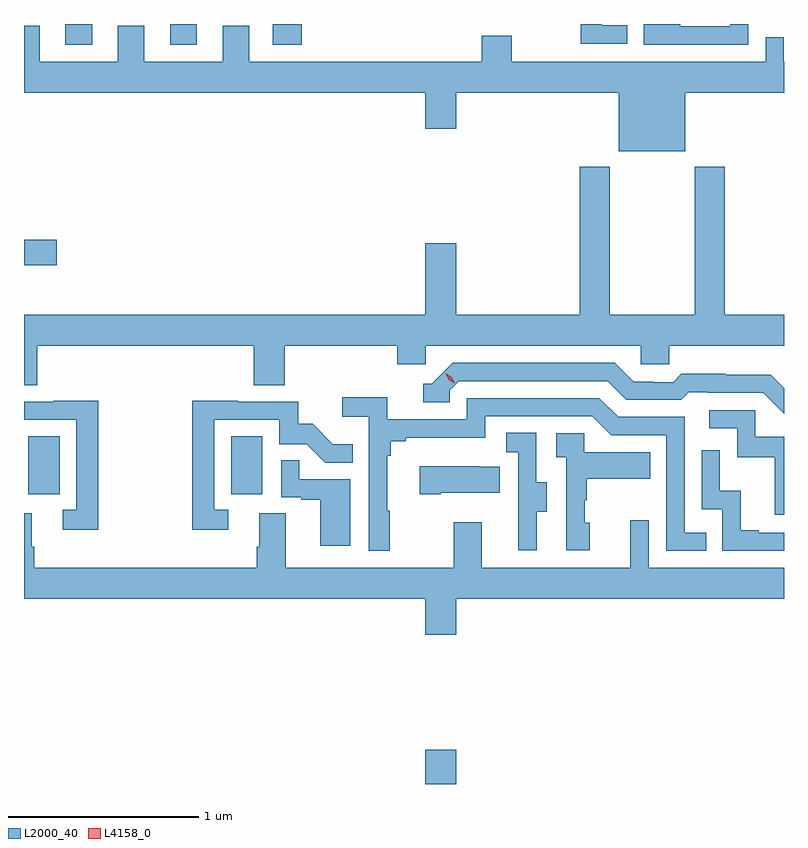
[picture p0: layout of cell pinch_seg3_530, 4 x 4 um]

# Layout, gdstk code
import gdstk
lib = gdstk.Library(unit=1e-6, precision=1e-09)
def R(c, l, rs):  # rectangles x0, y0, x1, y1
    for r in rs: c.add(gdstk.rectangle(r[:2], r[2:], *l))
def P(c, l, *ps):  # polygons
    for p in ps: c.add(gdstk.Polygon(p, *l))
L2000_40 = (2000, 40)
L4158_0 = (4158, 0)

pinch_seg3_530 = lib.new_cell('pinch_seg3_530')
R(pinch_seg3_530, L2000_40, [(1124.048,695.946,1124.212,696.127), (1121.96,697.47,1122.124,697.777), (1123.028,697.47,1123.192,697.777), (1121.937,698.675,1122.109,698.81), (1122.155,699.837,1122.295,699.946), (1122.707,699.837,1122.847,699.946), (1123.247,699.837,1123.399,699.946)])
P(pinch_seg3_530, L2000_40, [(1125.75,699.946),(1125.654,699.946),(1125.654,699.933),(1125.391,699.933),(1125.391,699.946),(1125.198,699.946),(1125.198,699.837),(1125.75,699.837)],
  [(1125.113,699.94),(1124.979,699.94),(1124.979,699.946),(1124.868,699.946),(1124.868,699.843),(1125.113,699.843)],
  [(1125.418,699.584),(1125.937,699.584),(1125.937,699.748),(1125.936,699.748),(1125.936,699.875),(1125.84,699.875),(1125.84,699.748),(1124.505,699.748),(1124.505,699.883),(1124.345,699.883),(1124.345,699.748),(1123.123,699.748),(1123.123,699.938),(1122.983,699.938),(1122.983,699.748),(1122.571,699.748),(1122.571,699.938),(1122.431,699.938),(1122.431,699.748),(1122.019,699.748),(1122.019,699.938),(1121.937,699.938),(1121.937,699.584),(1124.048,699.584),(1124.048,699.396),(1124.212,699.396),(1124.212,699.584),(1125.068,699.584),(1125.068,699.275),(1125.418,699.275)],
  [(1122.008,698.252),(1123.145,698.252),(1123.145,698.044),(1123.31,698.044),(1123.31,698.252),(1123.901,698.252),(1123.901,698.154),(1124.052,698.154),(1124.052,698.252),(1125.183,698.252),(1125.183,698.154),(1125.333,698.154),(1125.333,698.252),(1125.937,698.252),(1125.937,698.416),(1125.626,698.416),(1125.626,699.196),(1125.466,699.196),(1125.466,698.416),(1125.021,698.416),(1125.021,699.196),(1124.861,699.196),(1124.861,698.416),(1124.212,698.416),(1124.212,698.791),(1124.048,698.791),(1124.048,698.416),(1121.937,698.416),(1121.937,698.044),(1122.008,698.044)],
  [(1125.937,698.03),(1125.866,698.101),(1125.63,698.101),(1125.63,698.104),(1125.397,698.104),(1125.355,698.061),(1125.252,698.061),(1125.252,698.064),(1125.145,698.064),(1125.046,698.163),(1124.193,698.163),(1124.082,698.052),(1124.039,698.052),(1124.039,697.956),(1124.178,697.956),(1124.178,698.019),(1124.226,698.067),(1125.009,698.067),(1125.108,697.968),(1125.397,697.968),(1125.436,698.007),(1125.535,698.007),(1125.535,698.004),(1125.828,698.004),(1125.937,697.895)],
  [(1123.861,697.385),(1123.849,697.385),(1123.849,697.673),(1123.868,697.673),(1123.868,697.75),(1123.945,697.75),(1123.945,697.769),(1124.364,697.769),(1124.364,697.881),(1124.928,697.881),(1125.027,697.782),(1125.318,697.782),(1125.318,697.173),(1125.527,697.173),(1125.527,697.269),(1125.414,697.269),(1125.414,697.878),(1125.064,697.878),(1124.965,697.977),(1124.268,697.977),(1124.268,697.866),(1123.85,697.866),(1123.85,697.982),(1123.611,697.982),(1123.611,697.88),(1123.752,697.88),(1123.752,697.173),(1123.861,697.173)],
  [(1123.012,697.389),(1122.939,697.389),(1122.939,697.863),(1123.281,697.863),(1123.281,697.734),(1123.425,697.734),(1123.523,697.636),(1123.667,697.636),(1123.667,697.735),(1123.563,697.735),(1123.456,697.842),(1123.38,697.842),(1123.38,697.959),(1123.061,697.959),(1123.061,697.964),(1122.823,697.964),(1122.823,697.284),(1123.012,697.284)],
  [(1122.329,697.964),(1122.091,697.964),(1122.091,697.959),(1121.937,697.959),(1121.937,697.863),(1122.213,697.863),(1122.213,697.389),(1122.141,697.389),(1122.141,697.284),(1122.329,697.284)],
  [(1125.937,697.773),(1125.786,697.773),(1125.786,697.914),(1125.543,697.914),(1125.543,697.818),(1125.69,697.818),(1125.69,697.665),(1125.889,697.665),(1125.889,697.362),(1125.937,697.362)],
  [(1124.635,697.378),(1124.689,697.378),(1124.689,697.533),(1124.634,697.533),(1124.634,697.796),(1124.475,697.796),(1124.475,697.693),(1124.538,697.693),(1124.538,697.389),(1124.537,697.389),(1124.537,697.176),(1124.635,697.176)],
  [(1124.914,697.32),(1124.889,697.32),(1124.889,697.439),(1124.899,697.439),(1124.899,697.553),(1125.233,697.553),(1125.233,697.693),(1124.886,697.693),(1124.886,697.791),(1124.739,697.791),(1124.739,697.667),(1124.79,697.667),(1124.79,697.176),(1124.914,697.176)],
  [(1125.937,697.269),(1125.805,697.269),(1125.805,697.282),(1125.71,697.282),(1125.71,697.49),(1125.6,697.49),(1125.6,697.702),(1125.504,697.702),(1125.504,697.392),(1125.612,697.392),(1125.612,697.173),(1125.937,697.173)],
  [(1123.654,697.551),(1123.385,697.551),(1123.385,697.649),(1123.29,697.649),(1123.29,697.455),(1123.397,697.455),(1123.397,697.443),(1123.496,697.443),(1123.496,697.2),(1123.654,697.2)],
  [(1124.131,697.478),(1124.441,697.478),(1124.441,697.615),(1124.333,697.615),(1124.333,697.618),(1124.019,697.618),(1124.019,697.471),(1124.131,697.471)],
  [(1124.212,696.92),(1125.937,696.92),(1125.937,697.084),(1125.225,697.084),(1125.225,697.333),(1125.128,697.333),(1125.128,697.084),(1124.347,697.084),(1124.347,697.324),(1124.2,697.324),(1124.2,697.084),(1123.315,697.084),(1123.315,697.37),(1123.175,697.37),(1123.175,697.196),(1123.163,697.196),(1123.163,697.084),(1121.99,697.084),(1121.99,697.196),(1121.977,697.196),(1121.977,697.37),(1121.937,697.37),(1121.937,696.92),(1124.048,696.92),(1124.048,696.732),(1124.212,696.732)])
P(pinch_seg3_530, L4158_0, [(1124.203,698.055),(1124.172,698.074),(1124.157,698.107),(1124.157,698.107),(1124.157,698.107),(1124.187,698.087),(1124.203,698.055),(1124.203,698.055)])

lib.write_gds('pinch_seg3_530.gds')
